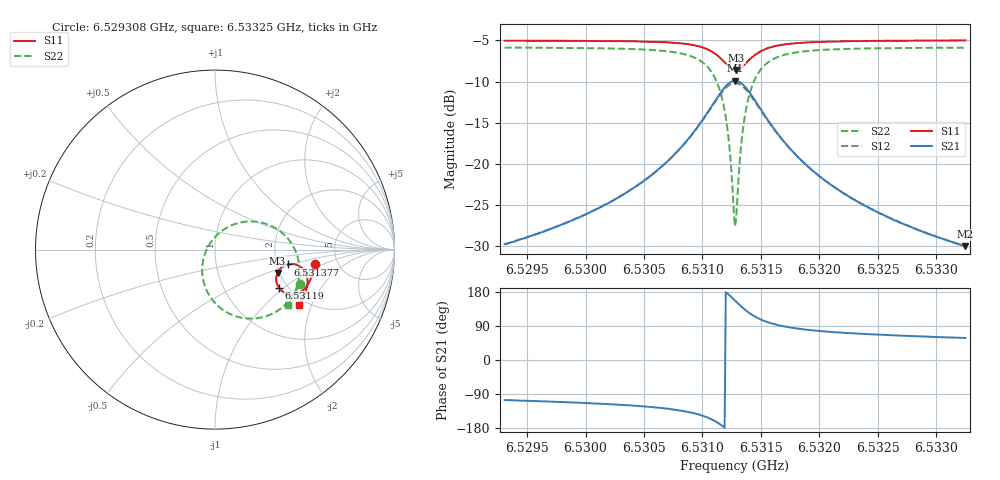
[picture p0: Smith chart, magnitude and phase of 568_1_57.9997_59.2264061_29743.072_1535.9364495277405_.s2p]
#  HZ  S  RI  R  50.00
! Rohde & Schwarz Vector Network Analyzer
! Rohde-Schwarz,ZNB20-2Port,1311601062101988,3.16
! Created: UTC 3/21/2024, 1:15:47 AM
! freq[Hz]  re:S11  im:S11  re:S21  im:S21  re:S12  im:S12  re:S22  im:S22
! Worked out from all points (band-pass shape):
!   401 points, 6.529308 GHz to 6.53325 GHz, reference 50 ohm
!   highest |S21| = -9.90 dB at 6.531279 GHz (marker M1); lowest = -30.0 dB at 6.53325 GHz (marker M2)
!   |S21| within 3 dB of the highest: 6.531083 GHz to 6.531477 GHz (393.8 kHz wide, 0.00603 % of centre)
!   lowest |S11| = -8.6 dB at 6.531289 GHz (marker M3), VSWR 2.18, Z = 97.6 - j29.5 ohm
!   |S11| at or under -10 dB: nowhere
!   |S22| runs from -27.6 to -5.9 dB; largest |S21 - S12| = 0.013
!   S11 on the Smith chart (normalised r, x): 6.529308 GHz: 3.35, -0.79; 6.53119 GHz: 1.80, -0.92; 6.531377 GHz: 2.29, -0.46; 6.53325 GHz: 1.82, -1.64
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6.5293079e9  0.5549 -0.0806  -0.00888 -0.0313  -0.00943 -0.0311  0.4719 -0.1904
6.5299681e9  0.5428 -0.136  -0.0189 -0.0442  -0.0199 -0.0438  0.4387 -0.2515
6.5303229e9  0.5308 -0.169  -0.0312 -0.0569  -0.0327 -0.0564  0.4061 -0.2928
6.5306284e9  0.5123 -0.2025  -0.0548 -0.0753  -0.057 -0.0737  0.3529 -0.338
6.530855e9  0.4836 -0.2315  -0.0966 -0.0943  -0.0993 -0.0909  0.269 -0.3757
6.5310226e9  0.4378 -0.2494  -0.1675 -0.0993  -0.1696 -0.0923  0.139 -0.3777
6.5311211e9  0.3914 -0.2421  -0.2389 -0.0701  -0.2376 -0.0599  0.0198 -0.3164
6.5311901e9  0.3558 -0.2124  -0.2908 -0.0079  -0.2841 0.00238  -0.0563 -0.2033
6.5312196e9  0.3452 -0.1908  -0.304 0.0325  -0.2948 0.0414  -0.0709 -0.1342
6.5312394e9  0.3416 -0.1741  -0.3069 0.0629  -0.2962 0.0702  -0.07 -0.0836
6.5312591e9  0.3414 -0.1564  -0.3038 0.0944  -0.2923 0.0998  -0.0592 -0.0324
6.5312788e9  0.3451 -0.1386  -0.2942 0.1258  -0.2823 0.1288  -0.0384 0.0165
6.5312886e9  0.3483 -0.1301  -0.2872 0.1406  -0.2753 0.1425  -0.0244 0.0393
6.5313379e9  0.3758 -0.0961  -0.2345 0.1986  -0.2247 0.1964  0.0714 0.1252
6.5313773e9  0.4044 -0.0824  -0.1828 0.2216  -0.1759 0.2178  0.16 0.1543
6.5314463e9  0.4496 -0.0831  -0.1039 0.2217  -0.1005 0.2182  0.2917 0.1408
6.5315448e9  0.4886 -0.1069  -0.0373 0.1877  -0.0356 0.1857  0.3995 0.0687
6.5316927e9  0.5106 -0.1442  0.0025 0.1379  0.00364 0.1371  0.4573 -0.0309
6.531939e9  0.5155 -0.1885  0.0184 0.0895  0.0196 0.0891  0.4704 -0.1312
6.5322544e9  0.5082 -0.2266  0.0207 0.0597  0.0216 0.0595  0.4582 -0.2008
6.5325993e9  0.4965 -0.2586  0.0194 0.0429  0.0202 0.0425  0.4402 -0.2479
6.5332497e9  0.4707 -0.3079  0.0167 0.0268  0.0171 0.0266  0.4054 -0.3065
